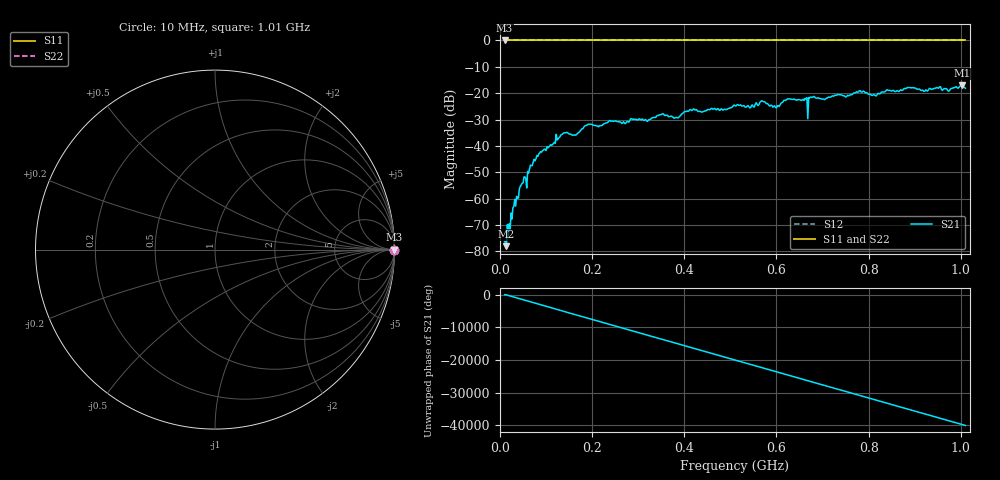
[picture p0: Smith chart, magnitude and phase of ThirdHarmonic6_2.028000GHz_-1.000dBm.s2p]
! 8/17/2025 12:20:20 AM
! C:\ANRITSUVNA\TEMP\TEMP.S2P
! CHANNEL.1
! TR.MEASUREMENT
! RAW.DATA
! RF.CORRECTION.OFF
! AVERAGING.OFF
! IF.BANDWIDTH: 5KHZ
! SWEEPTYPE:  FREQ.SWEEP(Linear)
! Reference Plane Port Info
! PORT:  PORT1  PORT2
! DISTANCE:  0  m  0  m
! TIME:  0  s  0  s
! PHASE.OFFSET:  0  deg.  0  deg.
! LOSS:  0  dB  0  dB
! REF.LOSS:  0  dB  0  dB
! REF.FREQ:  0  Hz  0  Hz
! Power Info
! POWER:  -20  dBm  -20  dBm
! EFF.POWER:  -20  dBm  -20  dBm
! SOURCE.ATTEN:  0  dB  0  dB
! TEST.ATTEN:  0  dB  0  dB
# GHZ S RI R 50.0
! FREQ.GHZ  S11RE  S11IM  S21RE  S21IM  S12RE  S12IM  S22RE  S22IM
!; PortSelection: Port_12
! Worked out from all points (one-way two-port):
!   501 points, 10 MHz to 1.01 GHz, reference 50 ohm
!   highest |S21| = -17.02 dB at 1.002 GHz (marker M1); lowest = -78.0 dB at 14 MHz (marker M2)
!   lowest |S11| = 0.0 dB at 10 MHz (marker M3)
!   |S11| at or under -10 dB: nowhere
!   |S22| runs from 0.0 to 0.0 dB; largest |S21 - S12| = 1.1
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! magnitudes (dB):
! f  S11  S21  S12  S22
! 10 MHz  0.0  -76.3  0.0  0.0
! 14 MHz  0.0  -78.0  0.0  0.0
! 28 MHz  0.0  -63.4  0.0  0.0
! 46 MHz  0.0  -54.8  0.0  0.0
! 76 MHz  0.0  -45.6  0.0  0.0
! 136 MHz  0.0  -35.4  0.0  0.0
! 162 MHz  0.0  -35.9  0.0  0.0
! 178 MHz  0.0  -33.5  0.0  0.0
! 344 MHz  0.0  -28.4  0.0  0.0
! 382 MHz  0.0  -29.2  0.0  0.0
! 416 MHz  0.0  -26.6  0.0  0.0
! 510 MHz  0.0  -24.8  0.0  0.0
! 570 MHz  0.0  -23.0  0.0  0.0
! 602 MHz  0.0  -24.7  0.0  0.0
! 626 MHz  0.0  -22.2  0.0  0.0
! 664 MHz  0.0  -22.1  0.0  0.0
! 678 MHz  0.0  -21.6  0.0  0.0
! 784 MHz  0.0  -19.6  0.0  0.0
! 814 MHz  0.0  -20.8  0.0  0.0
! 844 MHz  0.0  -19.0  0.0  0.0
! 1.002 GHz  0.0  -17.0  0.0  0.0
! 1.01 GHz  0.0  -18.1  0.0  0.0
